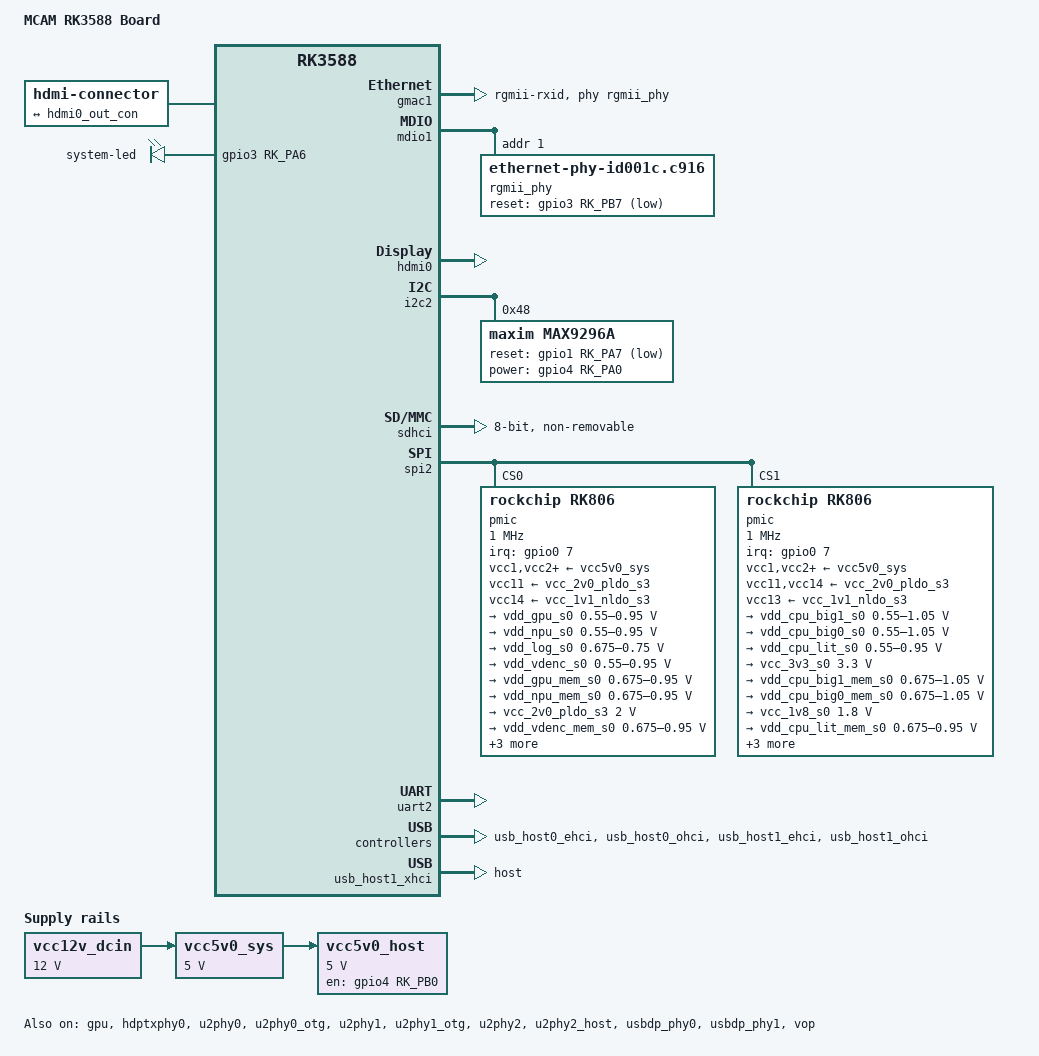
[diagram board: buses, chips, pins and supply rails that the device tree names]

// SPDX-License-Identifier: (GPL-2.0+ OR MIT)
/*
 * Copyright (c) 2025 Rockchip Electronics Co., Ltd.
 *
 */

/dts-v1/;

#include <dt-bindings/clock/rockchip,rk3588-cru.h>
#include <dt-bindings/gpio/gpio.h>
#include <dt-bindings/pinctrl/rockchip.h>
#include <dt-bindings/soc/rockchip,vop2.h>
#include "rk3588.dtsi"

/ {
	model = "MCAM RK3588 Board";
	compatible = "dy008,mcam", "rockchip,rk3588";

	aliases {
		mmc0 = &sdhci;
		serial2 = &uart2;
	};

	chosen {
		stdout-path = "serial2:1500000n8";
	};

	hdmi-con {
		compatible = "hdmi-connector";
		type = "a";

		port {
			hdmi_con_in: endpoint {
				remote-endpoint = <&hdmi0_out_con>;
			};
		};
	};

    leds {
		compatible = "gpio-leds";
		pinctrl-names = "default";

		sys_led: led-0 {
			gpios = <&gpio3 RK_PA6 GPIO_ACTIVE_HIGH>;
			label = "system-led";
			linux,default-trigger = "heartbeat";
			default-state = "on";
		};
	};

	vcc12v_dcin: vcc12v-dcin-regulator {
		compatible = "regulator-fixed";
		regulator-name = "vcc12v_dcin";
		regulator-always-on;
		regulator-boot-on;
		regulator-min-microvolt = <12000000>;
		regulator-max-microvolt = <12000000>;
	};

    vcc5v0_sys: vcc5v0-sys-regulator {
		compatible = "regulator-fixed";
		regulator-name = "vcc5v0_sys";
		regulator-always-on;
		regulator-boot-on;
		regulator-min-microvolt = <5000000>;
		regulator-max-microvolt = <5000000>;
		vin-supply = <&vcc12v_dcin>;
	};

	vcc5v0_host: vcc5v0-host {
        compatible = "regulator-fixed";
		regulator-name = "vcc5v0_host";
		regulator-boot-on;
		regulator-always-on;
		regulator-min-microvolt = <5000000>;
		regulator-max-microvolt = <5000000>;
		enable-active-high;
		gpio = <&gpio4 RK_PB0 GPIO_ACTIVE_HIGH>;
		vin-supply = <&vcc5v0_sys>;
		pinctrl-names = "default";
		pinctrl-0 = <&vcc5v0_host_en>;
	}; // ok
};

&cpu_b0 {
	cpu-supply = <&vdd_cpu_big0_s0>;
};

&cpu_b1 {
	cpu-supply = <&vdd_cpu_big0_s0>;
};

&cpu_b2 {
	cpu-supply = <&vdd_cpu_big1_s0>;
};

&cpu_b3 {
	cpu-supply = <&vdd_cpu_big1_s0>;
};

&cpu_l0 {
	cpu-supply = <&vdd_cpu_lit_s0>;
};

&cpu_l1 {
	cpu-supply = <&vdd_cpu_lit_s0>;
};

&cpu_l2 {
	cpu-supply = <&vdd_cpu_lit_s0>;
};

&cpu_l3 {
	cpu-supply = <&vdd_cpu_lit_s0>;
};

&gpu {
	mali-supply = <&vdd_gpu_s0>;
	sram-supply = <&vdd_gpu_mem_s0>;
	status = "okay";
};

&gmac1 {
	clock_in_out = "output";
	phy-handle = <&rgmii_phy>;
	phy-mode = "rgmii-rxid";
	pinctrl-0 = <&gmac1_miim
		     &gmac1_tx_bus2
		     &gmac1_rx_bus2
		     &gmac1_rgmii_clk
		     &gmac1_rgmii_bus>;
	pinctrl-names = "default";
	rx_delay = <0x00>;
	tx_delay = <0x43>;
	status = "okay";
};

&mdio1 {
	rgmii_phy: ethernet-phy@1 {
		/* RTL8211F */
		compatible = "ethernet-phy-id001c.c916";
		reg = <0x1>;
		pinctrl-names = "default";
		pinctrl-0 = <&rtl8211f_rst>;
		reset-assert-us = <20000>;
		reset-deassert-us = <100000>;
		reset-gpios = <&gpio3 RK_PB7 GPIO_ACTIVE_LOW>;
	};
};

&hdmi0 {
	status = "okay";
};

&hdmi0_in {
	hdmi0_in_vp0: endpoint {
		remote-endpoint = <&vp0_out_hdmi0>;
	};
};

&hdmi0_out {
	hdmi0_out_con: endpoint {
		remote-endpoint = <&hdmi_con_in>;
	};
};

&hdptxphy0 {
	status = "okay";
};

&i2c2 {
    status = "okay";
	pinctrl-names = "default";
	pinctrl-0 = <&i2c2m4_xfer>;

	max9296a: max9296a@48 {
			reg = <0x48>;
			compatible = "maxim,max9296a";
            max,reset-gpio = <&gpio1 RK_PA7 GPIO_ACTIVE_LOW>;
			max,power-gpio = <&gpio4 RK_PA0 GPIO_ACTIVE_HIGH>;
			data-lanes-number = <0x04>;
			power_in_uboot = <0x00>;
			rockchip,camera-module-index = <0x00>;
			rockchip,camera-module-facing = "back";
			rockchip,camera-module-name = "max9296a";
			rockchip,camera-module-lens-name = "max9296a";
			status = "okay";
		};
};

&pd_gpu {
	domain-supply = <&vdd_gpu_s0>;
};

&pinctrl {

	usb {
		vcc5v0_host_en: vcc5v0-host-en {
			rockchip,pins = <4 RK_PB0 RK_FUNC_GPIO &pcfg_pull_none>;
		};
	};

    rtl8211f {
		rtl8211f_rst: rtl8211f-rst {
			rockchip,pins = <3 RK_PB7 RK_FUNC_GPIO &pcfg_pull_none>;
		};

	};
};

&sdhci {
	bus-width = <8>;
	max-frequency = <200000000>;
	mmc-hs400-1_8v;
	mmc-hs400-enhanced-strobe;
	non-removable;
	no-sd;
	no-sdio;
	status = "okay";
};

&sdio {
	status = "disabled";
};

&spi2 {
	status = "okay";
	assigned-clocks = <&cru CLK_SPI2>;
	assigned-clock-rates = <200000000>;
	num-cs = <2>;

	pmic@0 {
		compatible = "rockchip,rk806";
		reg = <0x0>;
		#gpio-cells = <2>;
		gpio-controller;
		interrupt-parent = <&gpio0>;
		interrupts = <7 IRQ_TYPE_LEVEL_LOW>;
		pinctrl-0 = <&pmic_pins>, <&rk806_dvs1_null>,
			    <&rk806_dvs2_null>, <&rk806_dvs3_null>;
		pinctrl-names = "default";
		spi-max-frequency = <1000000>;
		system-power-controller;

		vcc1-supply = <&vcc5v0_sys>;
		vcc2-supply = <&vcc5v0_sys>;
		vcc3-supply = <&vcc5v0_sys>;
		vcc4-supply = <&vcc5v0_sys>;
		vcc5-supply = <&vcc5v0_sys>;
		vcc6-supply = <&vcc5v0_sys>;
		vcc7-supply = <&vcc5v0_sys>;
		vcc8-supply = <&vcc5v0_sys>;
		vcc9-supply = <&vcc5v0_sys>;
		vcc10-supply = <&vcc5v0_sys>;
		vcc11-supply = <&vcc_2v0_pldo_s3>;
		vcc12-supply = <&vcc5v0_sys>;
		vcc13-supply = <&vcc5v0_sys>;
		vcc14-supply = <&vcc_1v1_nldo_s3>;
		vcca-supply = <&vcc5v0_sys>;

		rk806_dvs1_null: dvs1-null-pins {
			pins = "gpio_pwrctrl1";
			function = "pin_fun0";
		};

		rk806_dvs2_null: dvs2-null-pins {
			pins = "gpio_pwrctrl2";
			function = "pin_fun0";
		};

		rk806_dvs3_null: dvs3-null-pins {
			pins = "gpio_pwrctrl3";
			function = "pin_fun0";
		};


		regulators {
			vdd_gpu_s0: dcdc-reg1 {
				/* regulator coupling requires always-on */
				regulator-always-on;
				regulator-boot-on;
				regulator-min-microvolt = <550000>;
				regulator-max-microvolt = <950000>;
				regulator-ramp-delay = <12500>;
				regulator-name = "vdd_gpu_s0";
				regulator-enable-ramp-delay = <400>;
				regulator-coupled-with = <&vdd_gpu_mem_s0>;
				regulator-coupled-max-spread = <10000>;
				regulator-state-mem {
					regulator-off-in-suspend;
				};
			};

			vdd_npu_s0: dcdc-reg2 {
				regulator-always-on;
				regulator-boot-on;
				regulator-min-microvolt = <550000>;
				regulator-max-microvolt = <950000>;
				regulator-ramp-delay = <12500>;
				regulator-name = "vdd_npu_s0";
				regulator-state-mem {
					regulator-off-in-suspend;
				};
			};

			vdd_log_s0: dcdc-reg3 {
				regulator-always-on;
				regulator-boot-on;
				regulator-min-microvolt = <675000>;
				regulator-max-microvolt = <750000>;
				regulator-ramp-delay = <12500>;
				regulator-name = "vdd_log_s0";
				regulator-state-mem {
					regulator-off-in-suspend;
					regulator-suspend-microvolt = <750000>;
				};
			};

			vdd_vdenc_s0: dcdc-reg4 {
				regulator-always-on;
				regulator-boot-on;
				regulator-min-microvolt = <550000>;
				regulator-max-microvolt = <950000>;
				regulator-ramp-delay = <12500>;
				regulator-name = "vdd_vdenc_s0";
				regulator-state-mem {
					regulator-off-in-suspend;
				};

			};

			vdd_gpu_mem_s0: dcdc-reg5 {
				/* regulator coupling requires always-on */
				regulator-always-on;
				regulator-boot-on;
				regulator-min-microvolt = <675000>;
				regulator-max-microvolt = <950000>;
				regulator-ramp-delay = <12500>;
				regulator-enable-ramp-delay = <400>;
				regulator-name = "vdd_gpu_mem_s0";
				regulator-coupled-with = <&vdd_gpu_s0>;
				regulator-coupled-max-spread = <10000>;
				regulator-state-mem {
					regulator-off-in-suspend;
				};

			};

			vdd_npu_mem_s0: dcdc-reg6 {
				regulator-always-on;
				regulator-boot-on;
				regulator-min-microvolt = <675000>;
				regulator-max-microvolt = <950000>;
				regulator-ramp-delay = <12500>;
				regulator-name = "vdd_npu_mem_s0";
				regulator-state-mem {
					regulator-off-in-suspend;
				};

			};

			vcc_2v0_pldo_s3: dcdc-reg7 {
				regulator-always-on;
				regulator-boot-on;
				regulator-min-microvolt = <2000000>;
				regulator-max-microvolt = <2000000>;
				regulator-ramp-delay = <12500>;
				regulator-name = "vdd_2v0_pldo_s3";
				regulator-state-mem {
					regulator-on-in-suspend;
					regulator-suspend-microvolt = <2000000>;
				};
			};

			vdd_vdenc_mem_s0: dcdc-reg8 {
				regulator-always-on;
				regulator-boot-on;
				regulator-min-microvolt = <675000>;
				regulator-max-microvolt = <950000>;
				regulator-ramp-delay = <12500>;
				regulator-name = "vdd_vdenc_mem_s0";
				regulator-state-mem {
					regulator-off-in-suspend;
				};
			};

			vdd2_ddr_s3: dcdc-reg9 {
				regulator-always-on;
				regulator-boot-on;
				regulator-name = "vdd2_ddr_s3";
				regulator-state-mem {
					regulator-on-in-suspend;
				};
			};

			vcc_1v1_nldo_s3: dcdc-reg10 {
				regulator-always-on;
				regulator-boot-on;
				regulator-min-microvolt = <1100000>;
				regulator-max-microvolt = <1100000>;
				regulator-ramp-delay = <12500>;
				regulator-name = "vcc_1v1_nldo_s3";
				regulator-state-mem {
					regulator-on-in-suspend;
					regulator-suspend-microvolt = <1100000>;
				};
			};

			avcc_1v8_s0: pldo-reg1 {
				regulator-always-on;
				regulator-boot-on;
				regulator-min-microvolt = <1800000>;
				regulator-max-microvolt = <1800000>;
				regulator-ramp-delay = <12500>;
				regulator-name = "avcc_1v8_s0";
				regulator-state-mem {
					regulator-off-in-suspend;
				};
			};

			vdd1_1v8_ddr_s3: pldo-reg2 {
				regulator-always-on;
				regulator-boot-on;
				regulator-min-microvolt = <1800000>;
				regulator-max-microvolt = <1800000>;
				regulator-ramp-delay = <12500>;
				regulator-name = "vdd1_1v8_ddr_s3";
				regulator-state-mem {
					regulator-on-in-suspend;
					regulator-suspend-microvolt = <1800000>;
				};
			};

			avcc_1v8_codec_s0: pldo-reg3 {
				regulator-always-on;
				regulator-boot-on;
				regulator-min-microvolt = <1800000>;
				regulator-max-microvolt = <1800000>;
				regulator-ramp-delay = <12500>;
				regulator-name = "avcc_1v8_codec_s0";
				regulator-state-mem {
					regulator-off-in-suspend;
				};
			};

			vcc_3v3_s3: pldo-reg4 {
				regulator-always-on;
				regulator-boot-on;
				regulator-min-microvolt = <3300000>;
				regulator-max-microvolt = <3300000>;
				regulator-ramp-delay = <12500>;
				regulator-name = "vcc_3v3_s3";
				regulator-state-mem {
					regulator-on-in-suspend;
					regulator-suspend-microvolt = <3300000>;
				};
			};

			vccio_sd_s0: pldo-reg5 {
				regulator-always-on;
				regulator-boot-on;
				regulator-min-microvolt = <1800000>;
				regulator-max-microvolt = <3300000>;
				regulator-ramp-delay = <12500>;
				regulator-name = "vccio_sd_s0";
				regulator-state-mem {
					regulator-off-in-suspend;
				};
			};

			vccio_1v8_s3: pldo-reg6 {
				regulator-always-on;
				regulator-boot-on;
				regulator-min-microvolt = <1800000>;
				regulator-max-microvolt = <1800000>;
				regulator-ramp-delay = <12500>;
				regulator-name = "vccio_1v8_s3";
				regulator-state-mem {
					regulator-on-in-suspend;
					regulator-suspend-microvolt = <1800000>;
				};
			};

			vdd_0v75_s3: nldo-reg1 {
				regulator-always-on;
				regulator-boot-on;
				regulator-min-microvolt = <750000>;
				regulator-max-microvolt = <750000>;
				regulator-ramp-delay = <12500>;
				regulator-name = "vdd_0v75_s3";
				regulator-state-mem {
					regulator-on-in-suspend;
					regulator-suspend-microvolt = <750000>;
				};
			};

			vdd2l_0v9_ddr_s3: nldo-reg2 {
				regulator-always-on;
				regulator-boot-on;
				regulator-min-microvolt = <900000>;
				regulator-max-microvolt = <900000>;
				regulator-name = "vdd2l_0v9_ddr_s3";
				regulator-state-mem {
					regulator-on-in-suspend;
					regulator-suspend-microvolt = <900000>;
				};
			};

			vdd_0v75_hdmi_edp_s0: nldo-reg3 {
				regulator-always-on;
				regulator-boot-on;
				regulator-min-microvolt = <750000>;
				regulator-max-microvolt = <750000>;
				regulator-name = "vdd_0v75_hdmi_edp_s0";
				regulator-state-mem {
					regulator-off-in-suspend;
				};
			};

			avdd_0v75_s0: nldo-reg4 {
				regulator-always-on;
				regulator-boot-on;
				regulator-min-microvolt = <750000>;
				regulator-max-microvolt = <750000>;
				regulator-name = "avdd_0v75_s0";
				regulator-state-mem {
					regulator-off-in-suspend;
				};
			};

			vdd_0v85_s0: nldo-reg5 {
				regulator-always-on;
				regulator-boot-on;
				regulator-min-microvolt = <850000>;
				regulator-max-microvolt = <850000>;
				regulator-name = "vdd_0v85_s0";
				regulator-state-mem {
					regulator-off-in-suspend;
				};
			};
		};
	};

	pmic@1 {
		compatible = "rockchip,rk806";
		reg = <0x01>;
		#gpio-cells = <2>;
		gpio-controller;
		interrupt-parent = <&gpio0>;
		interrupts = <7 IRQ_TYPE_LEVEL_LOW>;
		pinctrl-0 = <&rk806_slave_dvs1_null>, <&rk806_slave_dvs2_null>,
			    <&rk806_slave_dvs3_null>;
		pinctrl-names = "default";
		spi-max-frequency = <1000000>;

		vcc1-supply = <&vcc5v0_sys>;
		vcc2-supply = <&vcc5v0_sys>;
		vcc3-supply = <&vcc5v0_sys>;
		vcc4-supply = <&vcc5v0_sys>;
		vcc5-supply = <&vcc5v0_sys>;
		vcc6-supply = <&vcc5v0_sys>;
		vcc7-supply = <&vcc5v0_sys>;
		vcc8-supply = <&vcc5v0_sys>;
		vcc9-supply = <&vcc5v0_sys>;
		vcc10-supply = <&vcc5v0_sys>;
		vcc11-supply = <&vcc_2v0_pldo_s3>;
		vcc12-supply = <&vcc5v0_sys>;
		vcc13-supply = <&vcc_1v1_nldo_s3>;
		vcc14-supply = <&vcc_2v0_pldo_s3>;
		vcca-supply = <&vcc5v0_sys>;

		rk806_slave_dvs1_null: dvs1-null-pins {
			pins = "gpio_pwrctrl1";
			function = "pin_fun0";
		};

		rk806_slave_dvs2_null: dvs2-null-pins {
			pins = "gpio_pwrctrl2";
			function = "pin_fun0";
		};

		rk806_slave_dvs3_null: dvs3-null-pins {
			pins = "gpio_pwrctrl3";
			function = "pin_fun0";
		};

		regulators {
			vdd_cpu_big1_s0: dcdc-reg1 {
				regulator-always-on;
				regulator-boot-on;
				regulator-coupled-with = <&vdd_cpu_big1_mem_s0>;
				regulator-coupled-max-spread = <10000>;
				regulator-min-microvolt = <550000>;
				regulator-max-microvolt = <1050000>;
				regulator-ramp-delay = <12500>;
				regulator-name = "vdd_cpu_big1_s0";
				regulator-state-mem {
					regulator-off-in-suspend;
				};
			};

			vdd_cpu_big0_s0: dcdc-reg2 {
				regulator-always-on;
				regulator-boot-on;
				regulator-coupled-with = <&vdd_cpu_big0_mem_s0>;
				regulator-coupled-max-spread = <10000>;
				regulator-min-microvolt = <550000>;
				regulator-max-microvolt = <1050000>;
				regulator-ramp-delay = <12500>;
				regulator-name = "vdd_cpu_big0_s0";
				regulator-state-mem {
					regulator-off-in-suspend;
				};
			};

			vdd_cpu_lit_s0: dcdc-reg3 {
				regulator-always-on;
				regulator-boot-on;
				regulator-coupled-with = <&vdd_cpu_lit_mem_s0>;
				regulator-coupled-max-spread = <10000>;
				regulator-min-microvolt = <550000>;
				regulator-max-microvolt = <950000>;
				regulator-ramp-delay = <12500>;
				regulator-name = "vdd_cpu_lit_s0";
				regulator-state-mem {
					regulator-off-in-suspend;
				};
			};

			vcc_3v3_s0: dcdc-reg4 {
				regulator-always-on;
				regulator-boot-on;
				regulator-min-microvolt = <3300000>;
				regulator-max-microvolt = <3300000>;
				regulator-ramp-delay = <12500>;
				regulator-name = "vcc_3v3_s0";
				regulator-state-mem {
					regulator-off-in-suspend;
				};
			};

			vdd_cpu_big1_mem_s0: dcdc-reg5 {
				regulator-always-on;
				regulator-boot-on;
				regulator-coupled-with = <&vdd_cpu_big1_s0>;
				regulator-coupled-max-spread = <10000>;
				regulator-min-microvolt = <675000>;
				regulator-max-microvolt = <1050000>;
				regulator-ramp-delay = <12500>;
				regulator-name = "vdd_cpu_big1_mem_s0";
				regulator-state-mem {
					regulator-off-in-suspend;
				};
			};


			vdd_cpu_big0_mem_s0: dcdc-reg6 {
				regulator-always-on;
				regulator-boot-on;
				regulator-coupled-with = <&vdd_cpu_big0_s0>;
				regulator-coupled-max-spread = <10000>;
				regulator-min-microvolt = <675000>;
				regulator-max-microvolt = <1050000>;
				regulator-ramp-delay = <12500>;
				regulator-name = "vdd_cpu_big0_mem_s0";
				regulator-state-mem {
					regulator-off-in-suspend;
				};
			};

			vcc_1v8_s0: dcdc-reg7 {
				regulator-always-on;
				regulator-boot-on;
				regulator-min-microvolt = <1800000>;
				regulator-max-microvolt = <1800000>;
				regulator-ramp-delay = <12500>;
				regulator-name = "vcc_1v8_s0";
				regulator-state-mem {
					regulator-off-in-suspend;
				};
			};

			vdd_cpu_lit_mem_s0: dcdc-reg8 {
				regulator-always-on;
				regulator-boot-on;
				regulator-coupled-with = <&vdd_cpu_lit_s0>;
				regulator-coupled-max-spread = <10000>;
				regulator-min-microvolt = <675000>;
				regulator-max-microvolt = <950000>;
				regulator-ramp-delay = <12500>;
				regulator-name = "vdd_cpu_lit_mem_s0";
				regulator-state-mem {
					regulator-off-in-suspend;
				};
			};

			vddq_ddr_s0: dcdc-reg9 {
				regulator-always-on;
				regulator-boot-on;
				regulator-name = "vddq_ddr_s0";
				regulator-state-mem {
					regulator-off-in-suspend;
				};
			};

			vdd_ddr_s0: dcdc-reg10 {
				regulator-always-on;
				regulator-boot-on;
				regulator-min-microvolt = <675000>;
				regulator-max-microvolt = <900000>;
				regulator-ramp-delay = <12500>;
				regulator-name = "vdd_ddr_s0";
				regulator-state-mem {
					regulator-off-in-suspend;
				};
			};

			vcc_1v8_cam_s0: pldo-reg1 {
				regulator-always-on;
				regulator-boot-on;
				regulator-min-microvolt = <1800000>;
				regulator-max-microvolt = <1800000>;
				regulator-ramp-delay = <12500>;
				regulator-name = "vcc_1v8_cam_s0";
				regulator-state-mem {
					regulator-off-in-suspend;
				};
			};

			avdd1v8_ddr_pll_s0: pldo-reg2 {
				regulator-always-on;
				regulator-boot-on;
				regulator-min-microvolt = <1800000>;
				regulator-max-microvolt = <1800000>;
				regulator-ramp-delay = <12500>;
				regulator-name = "avdd1v8_ddr_pll_s0";
				regulator-state-mem {
					regulator-off-in-suspend;
				};
			};

			vdd_1v8_pll_s0: pldo-reg3 {
				regulator-always-on;
				regulator-boot-on;
				regulator-min-microvolt = <1800000>;
				regulator-max-microvolt = <1800000>;
				regulator-ramp-delay = <12500>;
				regulator-name = "vdd_1v8_pll_s0";
				regulator-state-mem {
					regulator-off-in-suspend;
				};
			};

			vcc_3v3_sd_s0: pldo-reg4 {
				regulator-always-on;
				regulator-boot-on;
				regulator-min-microvolt = <3300000>;
				regulator-max-microvolt = <3300000>;
				regulator-ramp-delay = <12500>;
				regulator-name = "vcc_3v3_sd_s0";
				regulator-state-mem {
					regulator-off-in-suspend;
				};
			};

			vcc_2v8_cam_s0: pldo-reg5 {
				regulator-always-on;
				regulator-boot-on;
				regulator-min-microvolt = <2800000>;
				regulator-max-microvolt = <2800000>;
				regulator-ramp-delay = <12500>;
				regulator-name = "vcc_2v8_cam_s0";
				regulator-state-mem {
					regulator-off-in-suspend;
				};
			};

			pldo6_s3: pldo-reg6 {
				regulator-always-on;
				regulator-boot-on;
				regulator-min-microvolt = <1800000>;
				regulator-max-microvolt = <1800000>;
				regulator-name = "pldo6_s3";
				regulator-state-mem {
					regulator-on-in-suspend;
					regulator-suspend-microvolt = <1800000>;
				};
			};

			vdd_0v75_pll_s0: nldo-reg1 {
				regulator-always-on;
				regulator-boot-on;
				regulator-min-microvolt = <750000>;
				regulator-max-microvolt = <750000>;
				regulator-ramp-delay = <12500>;
				regulator-name = "vdd_0v75_pll_s0";
				regulator-state-mem {
					regulator-off-in-suspend;
				};
			};

			vdd_ddr_pll_s0: nldo-reg2 {
				regulator-always-on;
				regulator-boot-on;
				regulator-min-microvolt = <850000>;
				regulator-max-microvolt = <850000>;
				regulator-name = "vdd_ddr_pll_s0";
				regulator-state-mem {
					regulator-off-in-suspend;
				};
			};

			avdd_0v85_s0: nldo-reg3 {
				regulator-always-on;
				regulator-boot-on;
				regulator-min-microvolt = <850000>;
				regulator-max-microvolt = <850000>;
				regulator-ramp-delay = <12500>;
				regulator-name = "avdd_0v85_s0";
				regulator-state-mem {
					regulator-off-in-suspend;
				};
			};

			avdd_1v2_cam_s0: nldo-reg4 {
				regulator-always-on;
				regulator-boot-on;
				regulator-min-microvolt = <1200000>;
				regulator-max-microvolt = <1200000>;
				regulator-ramp-delay = <12500>;
				regulator-name = "avdd_1v2_cam_s0";
				regulator-state-mem {
					regulator-off-in-suspend;
				};
			};

			avdd_1v2_s0: nldo-reg5 {
				regulator-always-on;
				regulator-boot-on;
				regulator-min-microvolt = <1200000>;
				regulator-max-microvolt = <1200000>;
				regulator-ramp-delay = <12500>;
				regulator-name = "avdd_1v2_s0";
				regulator-state-mem {
					regulator-off-in-suspend;
				};
			};
		};
	};
};

&u2phy0 {
	status = "okay";
};

&u2phy0_otg {
	phy-supply = <&vcc5v0_host>;
	status = "okay";
};

&u2phy1 {
	status = "okay";
};

&u2phy1_otg {
	phy-supply = <&vcc5v0_host>;
	status = "okay";
};

&u2phy2 {
	status = "okay";
};

&u2phy2_host {
	phy-supply = <&vcc5v0_host>;
	status = "okay";
};

&u2phy3 {
	status = "disabled";
};

&u2phy3_host {
	status = "disabled";
};

&uart2 {
	pinctrl-0 = <&uart2m0_xfer>;
	status = "okay";
};

&usbdp_phy0 {
	rockchip,dp-lane-mux = <2 3>;
	status = "okay";
};

&usbdp_phy1 {
	rockchip,dp-lane-mux = <2 3>;
	status = "okay";
};

&usb_host0_ehci {
	status = "okay";
};

&usb_host0_ohci {
	status = "okay";
};

&usb_host1_ehci {
	status = "okay";
};

&usb_host1_ohci {
	status = "okay";
};

&usb_host1_xhci {
	dr_mode = "host";
	status = "okay";
};

&vop {
	/*
	 * If no dedicated PLL was specified, the GPLL would be automatically
	 * assigned as the PLL source for dclk_vop2. As the frequency of GPLL
	 * is 1188 MHz, we can only get typical clock frequencies such as
	 * 74.25MHz, 148.5MHz, 297MHz, 594MHz.
	 *
	 * So here we set the parent clock of VP2 to V0PLL so that we can get
	 * any frequency.
	 */
	assigned-clocks = <&cru DCLK_VOP2_SRC>;
	assigned-clock-parents = <&cru PLL_V0PLL>;
	status = "okay";
};

&vop_mmu {
	status = "okay";
};

&vp0 {
	vp0_out_hdmi0: endpoint@ROCKCHIP_VOP2_EP_HDMI0 {
		reg = <ROCKCHIP_VOP2_EP_HDMI0>;
		remote-endpoint = <&hdmi0_in_vp0>;
	};
};
